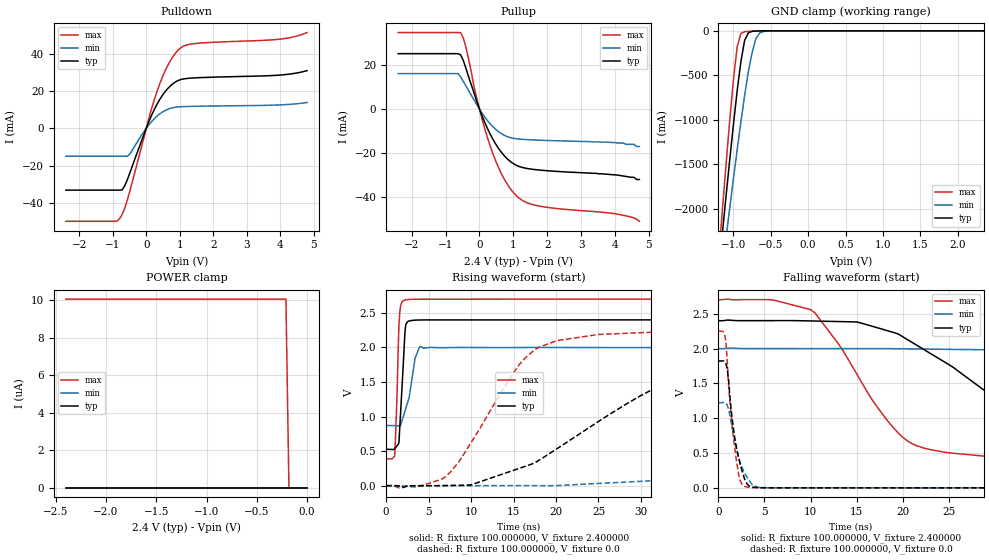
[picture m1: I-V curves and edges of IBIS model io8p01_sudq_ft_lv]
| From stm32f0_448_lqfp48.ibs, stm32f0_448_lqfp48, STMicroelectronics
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|   Model io8p01_sudq_ft_lv
[Model]  io8p01_sudq_ft_lv
Model_type I/O
Polarity   Non-Inverting
Enable   Active-Low
Vinl =   0.720000V
Vinh =   1.680000V
Vmeas =  1.200000V
Cref =   50.000000pF
Rref =   100.000000M
Vref =   0.0V
C_comp   1.970100pF   1.887900pF   2.069400pF
[Temperature Range]   25.000000   0.125000k   -40.000000
[Pullup Reference]   2.400000V   2.000000V   2.700000V
[Pulldown Reference]   0.0V   0.0V   0.0V
[POWER Clamp Reference]   2.400000V   2.000000V   2.700000V
[GND Clamp Reference]   0.0V   0.0V   0.0V
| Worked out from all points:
|   slope of the pulldown table from 0 to 0.36 V, typ, clamps not added: 25.5 ohm
|   slope of the pullup table from 0 to 0.36 V, typ, clamps not added: 28.4 ohm
|   GND clamp passes 1 mA (typ) near -0.64 V on its own axis
|   rising waveform, R_fixture 100.000000, V_fixture 2.400000: 20-80 % time 499ps typ, 1.06ns min, 336ps max; typ from 0.525 V to 2.4 V
|   rising waveform, R_fixture 100.000000, V_fixture 0.0: 20-80 % time 14.5ns typ, 43.7ns min, 6.87ns max; typ from 0 V to 1.82 V
|   falling waveform, R_fixture 100.000000, V_fixture 2.400000: 20-80 % time 13ns typ, 32.3ns min, 7.05ns max; typ from 2.4 V to 0.525 V
|   falling waveform, R_fixture 100.000000, V_fixture 0.0: 20-80 % time 1.16ns typ, 1.39ns min, 931ps max; typ from 1.82 V to 0 V
[Pulldown]
|Voltage   I(typ)   I(min)   I(max)
-2.4V     -33.16mA   -14.98mA   -49.86mA
-880mV    -33.16mA   -14.98mA   -49.86mA
-800mV    -33.16mA   -14.98mA   -48.55mA
-640mV    -30.75mA   -14.98mA   -42.76mA
-480mV    -23.43mA   -13.57mA   -32.92mA
80mV      3.651mA    1.905mA    5.506mA
400mV     15.37mA    7.665mA    23.73mA
720mV     22.75mA    10.69mA    36.23mA
1.04V     26.18mA    11.57mA    43.27mA
1.52V     27.09mA    11.81mA    45.55mA
4V        28.55mA    12.55mA    47.81mA
4.8V      30.9mA     13.81mA    51.31mA
[Pullup]
|Voltage   I(typ)   I(min)   I(max)
-2.4V     25.21mA    16.13mA    34.79mA
-640mV    25.21mA    16.13mA    34.79mA
-560mV    24.72mA    14.75mA    34.79mA
-400mV    18.51mA    10.48mA    28.09mA
-160mV    7.322mA    4.15mA     10.02mA
80mV      -3.229mA   -1.94mA    -4.736mA
400mV     -13.82mA   -8.081mA   -20.45mA
800mV     -22.31mA   -12.38mA   -33.66mA
1.2V      -26.24mA   -13.65mA   -40.83mA
1.76V     -27.69mA   -14.12mA   -44.07mA
4V        -29.9mA    -15.2mA    -47.5mA
4.72V     -32mA      -17mA      -51mA
[GND_clamp]
|Voltage   I(typ)   I(min)   I(max)
-2.4V     -9.788A    -9.782A    -9.734A
-1.2V     -2.718A    -3.02A     -2.568A
-1.15V    -2.29A     -2.675A    -2.036A
-1.1V     -1.868A    -2.333A    -1.515A
-1.05V    -1.454A    -1.995A    -1.012A
-950mV    -674.5mA   -1.337A    -180.5mA
-900mV    -345.2mA   -1.023A    -29.72mA
-850mV    -106.4mA   -726mA     -10.13mA
-750mV    -6.396mA   -244mA     -4.026mA
-700mV    -2.558mA   -88.61mA   -2.329mA
-600mV    -416uA     -7.739mA   -368uA
2.35V     0A         0A         0A
[POWER_clamp]
|Voltage   I(typ)   I(min)   I(max)
-2.4V     0A         0A         10.06uA
-210mV    0A         0A         10.06uA
-180mV    0A         0A         0A
0V        0A         0A         0A
[Ramp]
| variable   typ   min   max
dV/dt_r  1.09308/14.53591n   0.73368/43.60005n   1.34946/6.86189n
dV/dt_f  1.12469/12.94342n   0.67781/32.23620n   1.38756/7.04174n
R_load = 100.000000
[Rising Waveform]
R_fixture= 100.000000
V_fixture= 2.400000
V_fixture_min= 2.000000
V_fixture_max= 2.700000
|time   V(typ)   V(min)   V(max)
0s        525.2mV    870.3mV    387.4mV
1.001ns   533.4mV    868.6mV    427.9mV
1.301ns   580.2mV    867mV      1.396V
1.502ns   618.9mV    866.4mV    2.308V
1.702ns   1.058V     877.1mV    2.607V
2.202ns   2.2V       1.075V     2.686V
2.703ns   2.383V     1.274V     2.696V
3.403ns   2.395V     1.844V     2.698V
4.004ns   2.398V     2.016V     2.698V
49.85ns   2.4V       2V         2.7V
[Rising Waveform]
R_fixture= 100.000000
V_fixture= 0.0
V_fixture_min= 0.0
V_fixture_max= 0.0
|time   V(typ)   V(min)   V(max)
0s        1.81nV     16.19nV    1.388nV
7.007ns   1.867mV    817.4uV    130.2mV
16.52ns   286.2mV    456uV      1.866V
20.02ns   528mV      1.164mV    2.095V
25.03ns   931.2mV    32.13mV    2.189V
37.04ns   1.629V     132.6mV    2.24V
54.55ns   1.791V     444.2mV    2.251V
84.08ns   1.821V     947.3mV    2.249V
106.1ns   1.822V     1.128V     2.249V
249.2ns   1.822V     1.223V     2.249V
[Falling Waveform]
R_fixture= 100.000000
V_fixture= 2.400000
V_fixture_min= 2.000000
V_fixture_max= 2.700000
|time   V(typ)   V(min)   V(max)
0s        2.4V       2V         2.7V
10.01ns   2.397V     2V         2.56V
15.02ns   2.383V     2V         1.637V
20.02ns   2.171V     1.997V     726.6mV
29.03ns   1.387V     1.983V     453.9mV
37.04ns   789.8mV    1.94V      415.8mV
52.55ns   592.4mV    1.669V     394.5mV
72.57ns   546.2mV    1.209V     388.6mV
99.1ns    528mV      969.1mV    387.4mV
249.2ns   525.2mV    870.3mV    387.4mV
[Falling Waveform]
R_fixture= 100.000000
V_fixture= 0.0
V_fixture_min= 0.0
V_fixture_max= 0.0
|time   V(typ)   V(min)   V(max)
0s        1.822V     1.223V     2.249V
700.7ps   1.802V     1.223V     2.18V
800.8ps   1.785V     1.216V     2.097V
1.001ns   1.655V     1.166V     1.704V
1.201ns   1.378V     1.071V     1.289V
1.902ns   616.6mV    591.6mV    436.6mV
2.302ns   369.3mV    388.2mV    131.7mV
2.903ns   108.1mV    191.2mV    18.1mV
4.705ns   2.197mV    4.103mV    1.139mV
49.85ns   1.81nV     16.19nV    1.388nV
